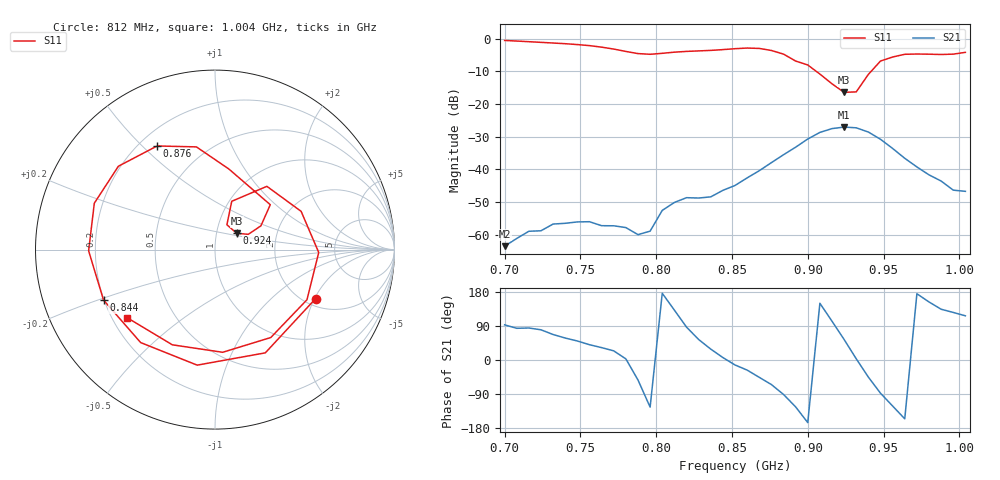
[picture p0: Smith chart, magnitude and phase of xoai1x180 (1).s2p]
# Hz S RI R 50
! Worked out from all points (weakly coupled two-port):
!   39 points, 700 MHz to 1.004 GHz, reference 50 ohm
!   highest |S21| = -27.05 dB at 924 MHz (marker M1); lowest = -63.5 dB at 700 MHz (marker M2)
!   lowest |S11| = -16.4 dB at 924 MHz (marker M3), VSWR 1.36, Z = 62.6 + j11.6 ohm
!   |S11| at or under -10 dB: 905.7 MHz to 941.8 MHz (36.11 MHz wide, 3.91 % of centre)
!   S12 and S22 are empty: the file has one direction only
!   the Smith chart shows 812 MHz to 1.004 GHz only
!   S11 on the Smith chart (normalised r, x): 812 MHz: 2.28, -2.04; 844 MHz: 0.20, -0.21; 876 MHz: 0.27, +0.55; 924 MHz: 1.25, +0.23; 1.004 GHz: 0.26, -0.32
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7e8  0.7619 0.5531  -3.2e-05 0.000665  0 0  0 0
7.24e8  0.8455 -0.2455  0.000205 0.00113  0 0  0 0
7.4e8  0.4602 -0.7024  0.000792 0.00126  0 0  0 0
7.56e8  -0.1921 -0.7608  0.0012 0.00102  0 0  0 0
7.72e8  -0.6642 -0.2049  0.00125 0.000559  0 0  0 0
7.8e8  -0.5992 0.222  0.00128 6.56e-05  0 0  0 0
7.88e8  -0.2563 0.5341  0.000605 -0.000797  0 0  0 0
7.96e8  0.2307 0.5302  -0.000637 -0.000935  0 0  0 0
8.04e8  0.5686 0.1858  -0.00235 0.00016  0 0  0 0
8.12e8  0.56 -0.2736  -0.00207 0.00232  0 0  0 0
8.28e8  -0.0993 -0.6438  0.00213 0.00295  0 0  0 0
8.44e8  -0.621 -0.281  0.00474 0.000535  0 0  0 0
8.52e8  -0.7041 -0.00705  0.00552 -0.00128  0 0  0 0
8.76e8  -0.3226 0.5773  0.0054 -0.0115  0 0  0 0
9e8  0.308 0.2501  -0.0282 -0.00745  0 0  0 0
9.08e8  0.2558 0.1324  -0.0318 0.0185  0 0  0 0
9.24e8  0.1209 0.0907  0.0261 0.0359  0 0  0 0
9.4e8  0.0934 0.2692  0.0263 -0.0264  0 0  0 0
9.56e8  0.48 0.213  -0.0109 -0.0178  0 0  0 0
9.64e8  0.5779 -0.0161  -0.0134 -0.00619  0 0  0 0
9.8e8  0.3109 -0.4898  -0.00734 0.00372  0 0  0 0
1.004e9  -0.4883 -0.3801  -0.00206 0.00412  0 0  0 0
